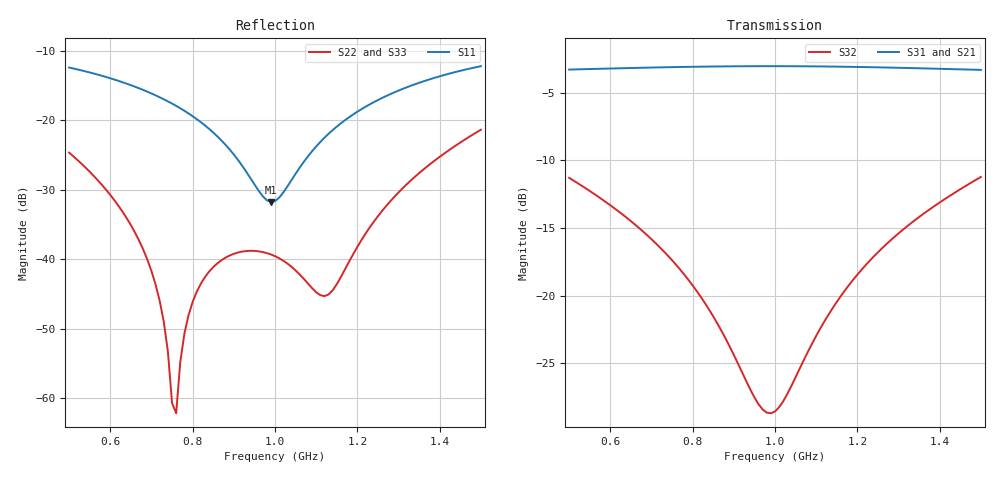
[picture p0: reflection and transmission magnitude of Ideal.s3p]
! Created Sat Jul 26 13:04:50 2025
# hz S ma R 50
! 3 Port Network Data from SP1.SP block
! freq  magS11  angS11  magS12  angS12  magS13  angS13
!  magS21  angS21
!  magS22  angS22  magS23  angS23
!  magS31  angS31  magS32  angS32
!  magS33  angS33
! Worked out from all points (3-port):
!   101 points, 500 MHz to 1.5 GHz, reference 50 ohm
!   strongest paths, dB at 500 MHz, 750 MHz, 1 GHz, 1.25 GHz, 1.5 GHz:
!     S31: -3.3, -3.1, -3.0, -3.1, -3.3
!     S21: -3.3, -3.1, -3.0, -3.1, -3.3
!     S32: -11.3, -17.4, -28.6, -16.8, -11.2
!   lowest |S11| = -31.7 dB at 990 MHz (marker M1), VSWR 1.05, Z = 51.2 - j2.36 ohm
!   |S11| at or under -10 dB: start of sweep to end of sweep
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5e8  0.2403 99.9  0.6849 -79.1  0.6849 -79.1
     0.6849 -79.1  0.05874 36.7  0.2726 -89.2
     0.6849 -79.1  0.2726 -89.2  0.05874 36.7
6.8e8  0.1658 68.0  0.6957 -108.4  0.6957 -108.4
       0.6957 -108.4  0.01178 5.0  0.1723 -108.2
       0.6957 -108.4  0.1723 -108.2  0.01178 5.0
7.2e8  0.1469 60.2  0.6978 -115.0  0.6978 -115.0
       0.6978 -115.0  0.005037 1.5  0.151 -111.7
       0.6978 -115.0  0.151 -111.7  0.005037 1.5
7.6e8  0.1274 52.1  0.6997 -121.6  0.6997 -121.6
       0.6997 -121.6  0.000782 122.1  0.1298 -114.6
       0.6997 -121.6  0.1298 -114.6  0.000782 122.1
7.8e8  0.1174 47.7  0.7005 -124.9  0.7005 -124.9
       0.7005 -124.9  0.002929 153.7  0.1194 -115.8
       0.7005 -124.9  0.1194 -115.8  0.002929 153.7
8.2e8  0.0972 38.4  0.7021 -131.5  0.7021 -131.5
       0.7021 -131.5  0.006701 153.4  0.09879 -117.2
       0.7021 -131.5  0.09879 -117.2  0.006701 153.4
9.9e8  0.02593 -62.5  0.7051 -159.8  0.7051 -159.8
       0.7051 -159.8  0.01087 134.3  0.03671 -69.6
       0.7051 -159.8  0.03671 -69.6  0.01087 134.3
1e9  0.02631 -76.4  0.705 -161.5  0.705 -161.5
     0.705 -161.5  0.01057 133.8  0.03729 -62.6
     0.705 -161.5  0.03729 -62.6  0.01057 133.8
1.13e9  0.08016 -159.5  0.7029 176.8  0.7029 176.8
        0.7029 176.8  0.005601 -174.9  0.08506 -25.7
        0.7029 176.8  0.08506 -25.7  0.005601 -174.9
1.5e9  0.2459 125.0  0.6831 116.1  0.6831 116.1
       0.6831 116.1  0.08578 -172.7  0.2746 -55.1
       0.6831 116.1  0.2746 -55.1  0.08578 -172.7
